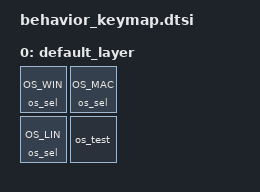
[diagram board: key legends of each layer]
#include <dt-bindings/zmk/keys.h>
#include <behaviors.dtsi>
#include <dt-bindings/zmk/kscan_mock.h>
#include <dt-bindings/zmk/oskey.h>

/ {
    behaviors {
        os_sel: os_selector {
            compatible = "zmk,behavior-os-selector";
            #binding-cells = <1>;
        };

        os_test: os_key_test {
            compatible = "zmk,behavior-os-key";
            #binding-cells = <0>;
            /* Windows: W  macOS: M  Linux: L */
            bindings = <&kp W>, <&kp M>, <&kp L>;
        };
    };

    keymap {
        compatible = "zmk,keymap";

        default_layer {
            bindings = <
                &os_sel OS_WIN  &os_sel OS_MAC
                &os_sel OS_LIN  &os_test
            >;
        };
    };
};
